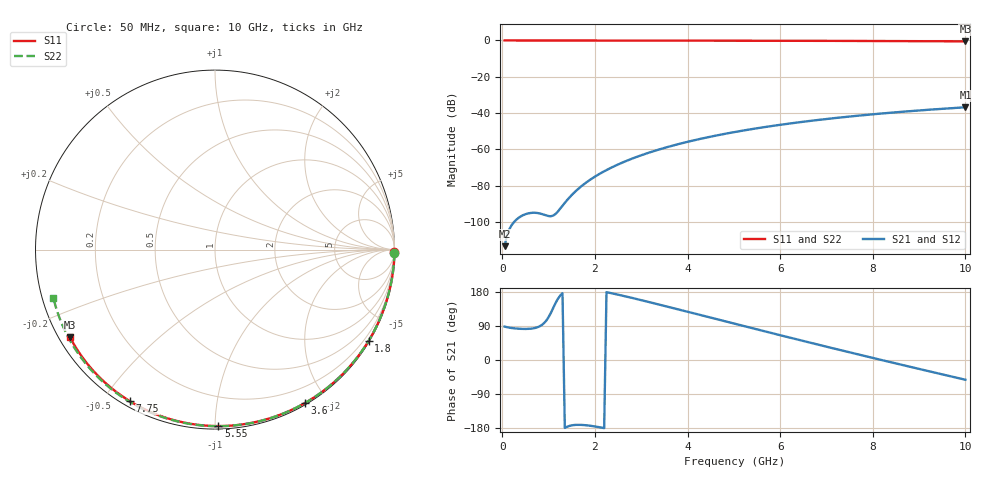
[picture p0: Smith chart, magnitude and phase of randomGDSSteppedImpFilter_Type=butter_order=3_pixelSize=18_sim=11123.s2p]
! freq	dB(S11)	phase(S11)	dB(S12)	phase(S12)
!  dB(S21)	phase(S21)	dB(S22)	phase(S22)
!S-par simulation data
#  GHz  S  DB  R 50
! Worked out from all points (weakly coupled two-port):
!   200 points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, 50 MHz to 10 GHz, reference 50 ohm
!   highest |S21| = -36.83 dB at 10 GHz (marker M1); lowest = -113.3 dB at 50 MHz (marker M2)
!   lowest |S11| = -0.5 dB at 10 GHz (marker M3), VSWR 34.67, Z = 1.55 - j13.9 ohm
!   |S11| at or under -10 dB: nowhere
!   |S22| runs from -0.5 to 0.0 dB; largest |S21 - S12| = 0
!   S11 on the Smith chart (normalised r, x): 50 MHz: open; 1.8 GHz: 0.03, -3.65; 3.6 GHz: 0.02, -1.74; 5.55 GHz: 0.02, -1.02; 7.75 GHz: 0.02, -0.59; 10 GHz: 0.03, -0.28
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0.05  -0.00 -0.9  -113.34 88.2  -113.34 88.2  -0.00 -1.0
0.45  -0.01 -7.8  -96.24 82.0  -96.24 82.0  -0.01 -8.6
0.85  -0.02 -14.6  -95.58 92.1  -95.58 92.1  -0.02 -16.2
1.25  -0.03 -21.4  -92.69 170.0  -92.69 170.0  -0.03 -23.7
1.7  -0.04 -29.0  -80.47 -171.2  -80.47 -171.2  -0.04 -32.0
1.75  -0.04 -29.8  -79.45 -171.6  -79.45 -171.6  -0.04 -32.9
1.8  -0.04 -30.7  -78.49 -172.1  -78.49 -172.1  -0.04 -33.8
2.1  -0.05 -35.6  -73.50 -177.5  -73.50 -177.5  -0.05 -39.3
2.3  -0.05 -38.9  -70.74 177.7  -70.74 177.7  -0.06 -42.9
2.5  -0.05 -42.2  -68.31 172.4  -68.31 172.4  -0.06 -46.5
2.9  -0.06 -48.7  -64.17 161.0  -64.17 161.0  -0.07 -53.6
3.4  -0.07 -56.6  -59.95 145.9  -59.95 145.9  -0.08 -62.3
3.6  -0.08 -59.8  -58.49 139.7  -58.49 139.7  -0.09 -65.7
4.3  -0.10 -70.5  -54.09 118.0  -54.09 118.0  -0.11 -77.5
5.05  -0.13 -81.7  -50.30 94.7  -50.30 94.7  -0.14 -89.6
5.55  -0.15 -88.9  -48.18 79.2  -48.18 79.2  -0.16 -97.5
6.1  -0.17 -96.7  -46.12 62.4  -46.12 62.4  -0.19 -105.9
6.7  -0.20 -105.0  -44.16 44.1  -44.16 44.1  -0.22 -115.0
7.75  -0.28 -119.2  -41.28 12.8  -41.28 12.8  -0.30 -130.5
8.35  -0.33 -127.2  -39.89 -4.8  -39.89 -4.8  -0.36 -139.2
9.2  -0.41 -138.4  -38.19 -29.3  -38.19 -29.3  -0.44 -151.6
10  -0.50 -149.0  -36.83 -52.1  -36.83 -52.1  -0.54 -163.5
